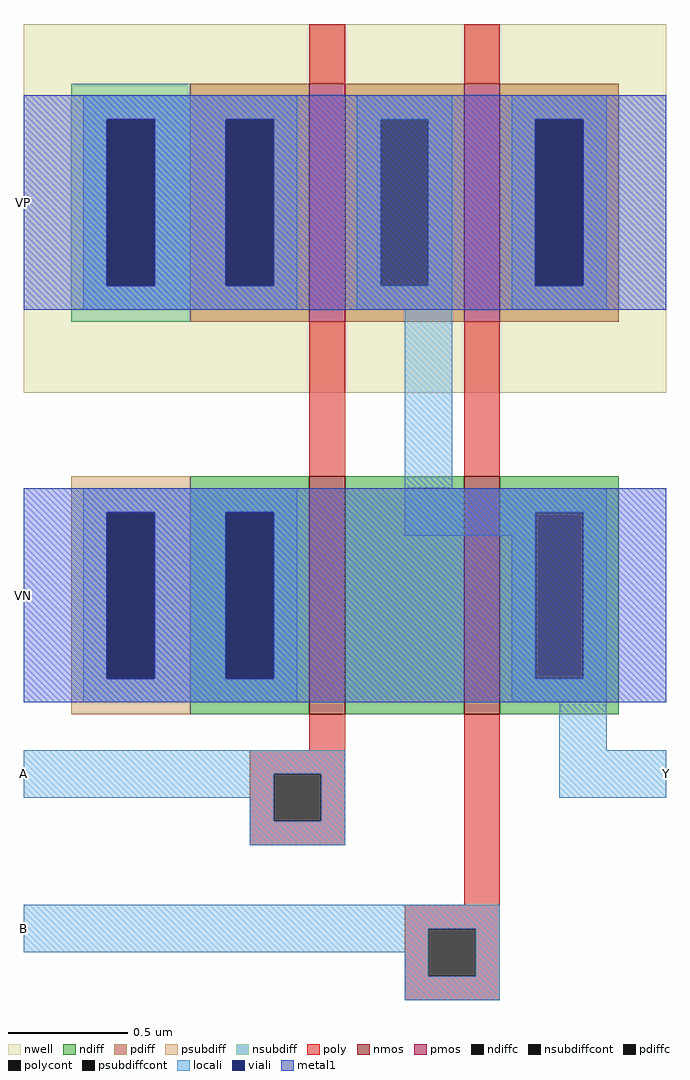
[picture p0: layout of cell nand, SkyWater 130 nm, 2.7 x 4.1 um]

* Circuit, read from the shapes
.subckt nand A Y B VP VN
XM1 n1 A VN VN sky130_fd_pr__nfet_01v8 w=1 l=0.15
XM2 Y B n1 VN sky130_fd_pr__nfet_01v8 w=1 l=0.15
XM3 Y A VP VP sky130_fd_pr__pfet_01v8 w=1 l=0.15
XM4 VP B Y VP sky130_fd_pr__pfet_01v8 w=1 l=0.15
.ends

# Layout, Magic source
magic
tech sky130A
<< nwell >>
rect -120 65 150 220
<< nmos >>
rect 0 -70 15 30
rect 65 -70 80 30
<< pmos >>
rect 0 95 15 195
rect 65 95 80 195
<< ndiff >>
rect -50 15 0 30
rect -50 -55 -35 15
rect -15 -55 0 15
rect -50 -70 0 -55
rect 15 -70 65 30
rect 80 15 130 30
rect 80 -55 95 15
rect 115 -55 130 15
rect 80 -70 130 -55
<< pdiff >>
rect -50 180 0 195
rect -50 110 -35 180
rect -15 110 0 180
rect -50 95 0 110
rect 15 180 65 195
rect 15 110 30 180
rect 50 110 65 180
rect 15 95 65 110
rect 80 180 130 195
rect 80 110 95 180
rect 115 110 130 180
rect 80 95 130 110
<< ndiffc >>
rect -35 -55 -15 15
rect 95 -55 115 15
<< pdiffc >>
rect -35 110 -15 180
rect 30 110 50 180
rect 95 110 115 180
<< psubdiff >>
rect -100 15 -50 30
rect -100 -55 -85 15
rect -65 -55 -50 15
rect -100 -70 -50 -55
<< nsubdiff >>
rect -100 180 -50 195
rect -100 110 -85 180
rect -65 110 -50 180
rect -100 95 -50 110
<< psubdiffcont >>
rect -85 -55 -65 15
<< nsubdiffcont >>
rect -85 110 -65 180
<< poly >>
rect 0 195 15 220
rect 65 195 80 220
rect 0 30 15 95
rect 65 30 80 95
rect 0 -85 15 -70
rect -25 -95 15 -85
rect -25 -115 -15 -95
rect 5 -115 15 -95
rect -25 -125 15 -115
rect 65 -150 80 -70
rect 40 -160 80 -150
rect 40 -180 50 -160
rect 70 -180 80 -160
rect 40 -190 80 -180
<< polycont >>
rect -15 -115 5 -95
rect 50 -180 70 -160
<< locali >>
rect -95 180 -5 190
rect -95 110 -85 180
rect -65 110 -35 180
rect -15 110 -5 180
rect -95 100 -5 110
rect 20 180 60 190
rect 20 110 30 180
rect 50 110 60 180
rect 20 100 60 110
rect 85 180 125 190
rect 85 110 95 180
rect 115 110 125 180
rect 85 100 125 110
rect 40 25 60 100
rect -95 15 -5 25
rect -95 -55 -85 15
rect -65 -55 -35 15
rect -15 -55 -5 15
rect 40 15 125 25
rect 40 5 95 15
rect -95 -65 -5 -55
rect 85 -55 95 5
rect 115 -55 125 15
rect 85 -65 125 -55
rect 105 -85 125 -65
rect -120 -95 15 -85
rect -120 -105 -15 -95
rect -25 -115 -15 -105
rect 5 -115 15 -95
rect 105 -105 150 -85
rect -25 -125 15 -115
rect -120 -160 80 -150
rect -120 -170 50 -160
rect 40 -180 50 -170
rect 70 -180 80 -160
rect 40 -190 80 -180
<< viali >>
rect -85 110 -65 180
rect -35 110 -15 180
rect 95 110 115 180
rect -85 -55 -65 15
rect -35 -55 -15 15
<< metal1 >>
rect -120 180 150 190
rect -120 110 -85 180
rect -65 110 -35 180
rect -15 110 95 180
rect 115 110 150 180
rect -120 100 150 110
rect -120 15 150 25
rect -120 -55 -85 15
rect -65 -55 -35 15
rect -15 -55 150 15
rect -120 -65 150 -55
<< labels >>
rlabel metal1 -120 145 -120 145 7 VP
port 4 w
rlabel locali 150 -95 150 -95 3 Y
port 2 e
rlabel locali -120 -160 -120 -160 7 B
port 3 w
rlabel locali -120 -95 -120 -95 7 A
port 1 w
rlabel metal1 -120 -20 -120 -20 7 VN
port 5 w
<< end >>
